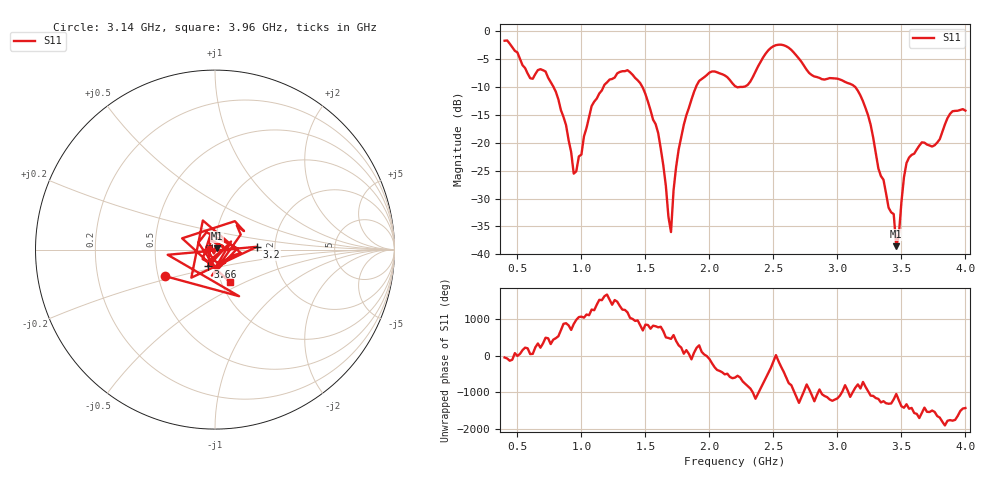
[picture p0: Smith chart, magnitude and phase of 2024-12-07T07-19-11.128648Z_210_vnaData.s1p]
!Created with skrf (http://scikit-rf.org).
# Hz S RI R 50.0
!freq ReS11 ImS11
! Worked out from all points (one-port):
!   181 points, 400 MHz to 4 GHz, reference 50 ohm
!   lowest |S11| = -38.5 dB at 3.46 GHz (marker M1), VSWR 1.02, Z = 50.9 + j0.753 ohm
!   |S11| at or under -10 dB: 782 MHz to 1.172 GHz (390.1 MHz wide, 39.9 % of centre); 1.477 GHz to 1.895 GHz (418.7 MHz wide, 24.8 % of centre); 3.139 GHz to end of sweep (the widest 3 of 4)
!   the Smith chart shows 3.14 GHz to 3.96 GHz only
!   S11 on the Smith chart (normalised r, x): 3.14 GHz: 0.54, -0.18; 3.2 GHz: 1.61, +0.05; 3.66 GHz: 0.91, -0.17; 3.96 GHz: 1.10, -0.41
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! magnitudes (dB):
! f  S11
! 400 MHz  -1.7
! 600 MHz  -8.4
! 720 MHz  -7.2
! 860 MHz  -15.4
! 940 MHz  -25.5
! 1.08 GHz  -13.4
! 1.3 GHz  -7.3
! 1.46 GHz  -9.3
! 1.58 GHz  -16.7
! 1.64 GHz  -24.1
! 1.7 GHz  -36.0
! 1.72 GHz  -28.5
! 1.76 GHz  -21.2
! 1.92 GHz  -8.9
! 2.2 GHz  -9.8
! 2.5 GHz  -2.7
! 2.66 GHz  -3.8
! 3.1 GHz  -9.4
! 3.14 GHz  -10.0
! 3.2 GHz  -12.6
! 3.44 GHz  -32.8
! 3.46 GHz  -38.5
! 3.52 GHz  -26.2
! 3.56 GHz  -22.6
! 3.66 GHz  -19.9
! 3.76 GHz  -20.4
! 3.96 GHz  -14.1
! 4 GHz  -14.2
